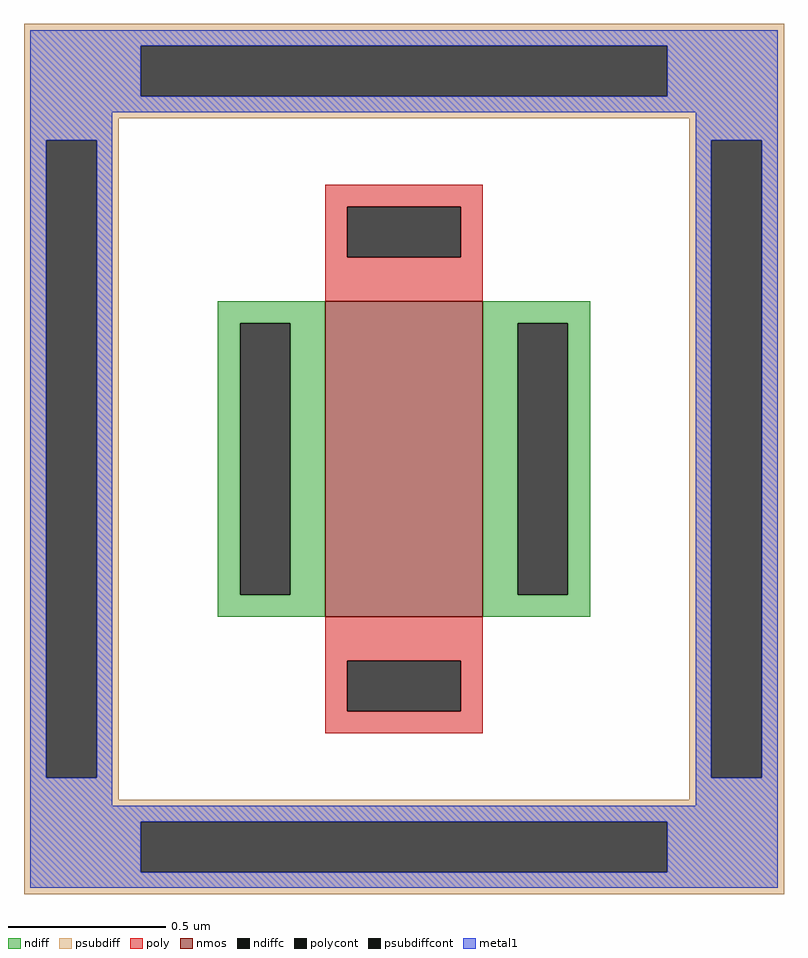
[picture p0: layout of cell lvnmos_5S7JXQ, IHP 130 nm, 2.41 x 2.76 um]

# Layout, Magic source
magic
tech ihp-sg13g2
magscale 1 2
<< nmos >>
rect -50 -100 50 100
<< ndiff >>
rect -118 86 -50 100
rect -118 -86 -104 86
rect -72 -86 -50 86
rect -118 -100 -50 -86
rect 50 86 118 100
rect 50 -86 72 86
rect 104 -86 118 86
rect 50 -100 118 -86
<< ndiffc >>
rect -104 -86 -72 86
rect 72 -86 104 86
<< psubdiff >>
rect -241 262 241 276
rect -241 230 -167 262
rect 167 230 241 262
rect -241 216 241 230
rect -241 202 -181 216
rect -241 -202 -227 202
rect -195 -202 -181 202
rect 181 202 241 216
rect -241 -216 -181 -202
rect 181 -202 195 202
rect 227 -202 241 202
rect 181 -216 241 -202
rect -241 -230 241 -216
rect -241 -262 -167 -230
rect 167 -262 241 -230
rect -241 -276 241 -262
<< psubdiffcont >>
rect -167 230 167 262
rect -227 -202 -195 202
rect 195 -202 227 202
rect -167 -262 167 -230
<< poly >>
rect -50 160 50 174
rect -50 128 -36 160
rect 36 128 50 160
rect -50 100 50 128
rect -50 -128 50 -100
rect -50 -160 -36 -128
rect 36 -160 50 -128
rect -50 -174 50 -160
<< polycont >>
rect -36 128 36 160
rect -36 -160 36 -128
<< metal1 >>
rect -237 262 237 272
rect -237 230 -167 262
rect 167 230 237 262
rect -237 220 237 230
rect -237 202 -185 220
rect -237 -202 -227 202
rect -195 -202 -185 202
rect 185 202 237 220
rect -237 -220 -185 -202
rect 185 -202 195 202
rect 227 -202 237 202
rect 185 -220 237 -202
rect -237 -230 237 -220
rect -237 -262 -167 -230
rect 167 -262 237 -230
rect -237 -272 237 -262
<< properties >>
string gencell lvnmos
string library sg13g2_devstdin
string parameters w 1 l 0.5 nf 1 nx 1 dx 0.21 ny 1 dy 0.18 wmin 0.50 lmin 0.50 class mosfet gcontcov_t 100 gcontcov_b 100 dcontcov_l 100 dcontcov_r 100 guard_distf 1.5 glc 1 grc 1 gtc 1 gbc 1
<< end >>
